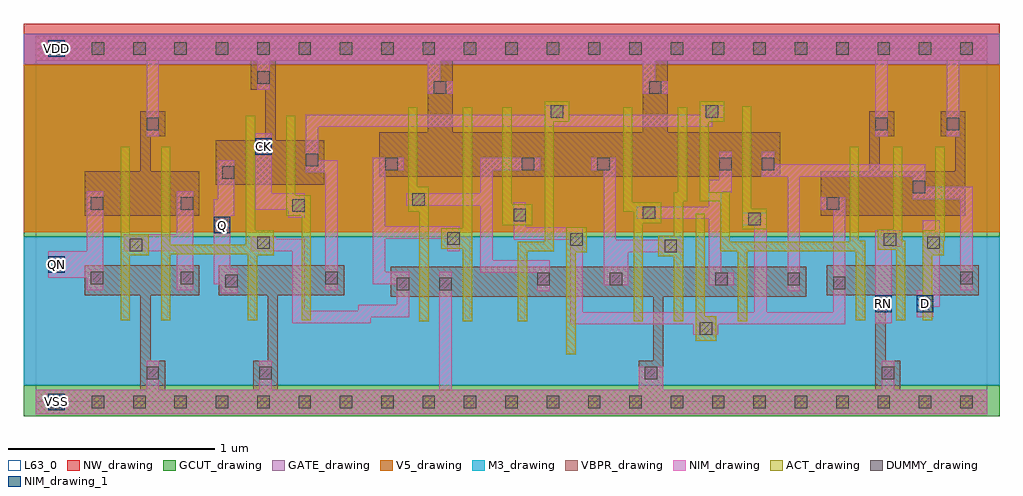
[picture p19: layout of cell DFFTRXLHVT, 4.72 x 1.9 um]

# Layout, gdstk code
import gdstk
lib = gdstk.Library(unit=1e-6, precision=5e-10)
def R(c, l, rs):  # rectangles x0, y0, x1, y1
    for r in rs: c.add(gdstk.rectangle(r[:2], r[2:], *l))
def A(c, l, x, y, w, h, nx, ny, dx, dy):  # array of equal rectangles
    R(c, l, [(x+i*dx, y+j*dy, x+i*dx+w, y+j*dy+h) for i in range(nx) for j in range(ny)])
def P(c, l, *ps):  # polygons
    for p in ps: c.add(gdstk.Polygon(p, *l))
VBPR_drawing = (1, 0)
NW_drawing = (2, 0)
ACT_drawing = (3, 0)
GATE_drawing = (4, 0)
GCUT_drawing = (5, 0)
DUMMY_drawing = (6, 0)
NIM_drawing = (7, 0)
NIM_drawing_1 = (7, 1)
M3_drawing = (18, 0)
V5_drawing = (23, 0)
L63_0 = (63, 0)

dfftrxlhvt = lib.new_cell('DFFTRXLHVT')
R(dfftrxlhvt, VBPR_drawing, [(0,-0.06,4.6,0.06), (0,1.65,4.6,1.77)])
P(dfftrxlhvt, VBPR_drawing, [(1.395,1.265),(1.16,1.265),(1.16,1.65),(1.04,1.65),(1.04,1.51),(1.11,1.51),(1.11,1.265),(0.87,1.265),(0.87,1.05),(1.395,1.05)],
  [(3.6,1.305),(3.055,1.305),(3.055,1.65),(2.935,1.65),(2.935,1.305),(2.015,1.305),(2.015,1.65),(1.895,1.65),(1.895,1.305),(1.66,1.305),(1.66,1.09),(3.6,1.09)],
  [(0.505,1.405),(0.625,1.405),(0.625,1.285),(0.555,1.285),(0.555,1.115),(0.79,1.115),(0.79,0.9),(0.235,0.9),(0.235,1.115),(0.505,1.115)],
  [(4.03,1.405),(4.15,1.405),(4.15,1.285),(4.08,1.285),(4.08,1.115),(4.445,1.115),(4.445,1.285),(4.375,1.285),(4.375,1.405),(4.495,1.405),(4.495,0.9),(3.795,0.9),(3.795,1.115),(4.03,1.115)],
  [(4.56,0.66),(3.825,0.66),(3.825,0.515),(4.06,0.515),(4.06,0.06),(4.18,0.06),(4.18,0.2),(4.11,0.2),(4.11,0.515),(4.56,0.515)],
  [(3.725,0.655),(1.715,0.655),(1.715,0.51),(2.985,0.51),(2.985,0.2),(2.915,0.2),(2.915,0.06),(3.035,0.06),(3.035,0.51),(3.725,0.51)],
  [(1.49,0.66),(0.885,0.66),(0.885,0.515),(1.12,0.515),(1.12,0.2),(1.05,0.2),(1.05,0.06),(1.17,0.06),(1.17,0.515),(1.49,0.515)],
  [(0.79,0.66),(0.235,0.66),(0.235,0.515),(0.505,0.515),(0.505,0.06),(0.625,0.06),(0.625,0.2),(0.555,0.2),(0.555,0.515),(0.79,0.515)])
R(dfftrxlhvt, NW_drawing, [(-0.06,0.82,4.66,1.83)])
P(dfftrxlhvt, ACT_drawing, [(0.41,1.235),(0.455,1.235),(0.455,0.81),(0.545,0.81),(0.545,0.71),(0.455,0.71),(0.455,0.395),(0.41,0.395)],
  [(0.605,1.235),(0.65,1.235),(0.65,0.76),(1.015,0.76),(1.015,1.385),(1.06,1.385),(1.06,0.83),(1.15,0.83),(1.15,0.71),(1.07,0.71),(1.07,0.395),(1.025,0.395),(1.025,0.715),(0.65,0.715),(0.65,0.395),(0.605,0.395)],
  [(2.46,1.455),(2.58,1.455),(2.58,1.355),(2.505,1.355),(2.505,0.73),(2.375,0.73),(2.375,0.39),(2.33,0.39),(2.33,0.775),(2.46,0.775)],
  [(1.21,1.385),(1.255,1.385),(1.255,1),(1.33,1),(1.33,0.395),(1.285,0.395),(1.285,0.9),(1.21,0.9)],
  [(1.8,1.425),(1.845,1.425),(1.845,1.04),(1.9,1.04),(1.9,0.39),(1.855,0.39),(1.855,0.92),(1.8,0.92)],
  [(2.065,1.425),(2.11,1.425),(2.11,0.39),(2.065,0.39),(2.065,0.74),(1.96,0.74),(1.96,0.84),(2.065,0.84)],
  [(2.255,1.425),(2.3,1.425),(2.3,0.955),(2.4,0.955),(2.4,0.855),(2.255,0.855)],
  [(3.21,1.455),(3.33,1.455),(3.33,1.355),(3.255,1.355),(3.255,1.015),(3.355,1.015),(3.355,0.775),(3.935,0.775),(3.935,1.235),(3.98,1.235),(3.98,0.78),(4.01,0.78),(4.01,0.395),(3.965,0.395),(3.965,0.73),(3.44,0.73),(3.44,0.39),(3.395,0.39),(3.395,0.73),(3.31,0.73),(3.31,0.97),(3.21,0.97)],
  [(2.84,1.425),(2.885,1.425),(2.885,0.965),(3.025,0.965),(3.025,0.865),(2.935,0.865),(2.935,0.39),(2.89,0.39),(2.89,0.92),(2.84,0.92)],
  [(3.105,1.425),(3.15,1.425),(3.15,0.97),(3.13,0.97),(3.13,0.39),(3.085,0.39),(3.085,0.705),(3.01,0.705),(3.01,0.805),(3.085,0.805),(3.085,1.015),(3.105,1.015)],
  [(3.415,1.43),(3.46,1.43),(3.46,0.935),(3.535,0.935),(3.535,0.835),(3.415,0.835)],
  [(4.145,1.235),(4.19,1.235),(4.19,0.78),(4.205,0.78),(4.205,0.395),(4.16,0.395),(4.16,0.735),(4.07,0.735),(4.07,0.835),(4.145,0.835)],
  [(4.35,1.235),(4.395,1.235),(4.395,0.78),(4.39,0.78),(4.39,0.71),(4.335,0.71),(4.335,0.395),(4.29,0.395),(4.29,0.83),(4.35,0.83)],
  [(2.565,0.845),(2.665,0.845),(2.665,0.725),(2.61,0.725),(2.61,0.23),(2.565,0.23)],
  [(3.19,0.91),(3.235,0.91),(3.235,0.415),(3.29,0.415),(3.29,0.295),(3.19,0.295)])
R(dfftrxlhvt, GATE_drawing, [(-0.06,0.08,4.66,0.8), (-0.06,1.63,4.66,1.78)])
R(dfftrxlhvt, GCUT_drawing, [(-0.06,-0.07,4.66,0.08), (-0.06,0.8,4.66,1.63)])
A(dfftrxlhvt, DUMMY_drawing, 0.07, -0.03, 0.06, 0.06, 23, 2, 0.2, 1.71)
R(dfftrxlhvt, DUMMY_drawing, [(0.535,0.11,0.595,0.17), (1.08,0.11,1.14,0.17), (2.945,0.11,3.005,0.17), (4.09,0.11,4.15,0.17), (3.21,0.325,3.27,0.385), (1.745,0.54,1.805,0.6), (1.95,0.54,2.01,0.6), (3.855,0.545,3.915,0.605), (0.915,0.555,0.975,0.615), (2.425,0.565,2.485,0.625), (2.775,0.565,2.835,0.625), (3.285,0.565,3.345,0.625), (3.635,0.565,3.695,0.625), (0.265,0.57,0.325,0.63), (0.7,0.57,0.76,0.63), (1.4,0.57,1.46,0.63), (4.47,0.57,4.53,0.63), (3.04,0.725,3.1,0.785), (0.455,0.73,0.515,0.79), (1.07,0.74,1.13,0.8), (4.31,0.74,4.37,0.8), (2.585,0.755,2.645,0.815), (4.1,0.755,4.16,0.815), (1.99,0.76,2.05,0.82), (3.445,0.855,3.505,0.915), (2.31,0.875,2.37,0.935), (2.935,0.885,2.995,0.945), (1.24,0.92,1.3,0.98), (0.265,0.93,0.325,0.99), (0.7,0.93,0.76,0.99), (3.825,0.93,3.885,0.99), (1.82,0.95,1.88,1.01), (4.24,1.01,4.3,1.07), (0.9,1.08,0.96,1.14), (1.69,1.12,1.75,1.18), (2.35,1.12,2.41,1.18), (2.715,1.12,2.775,1.18), (3.305,1.12,3.365,1.18), (3.51,1.12,3.57,1.18), (1.305,1.14,1.365,1.2), (0.535,1.315,0.595,1.375), (4.06,1.315,4.12,1.375), (4.405,1.315,4.465,1.375), (2.49,1.375,2.55,1.435), (3.24,1.375,3.3,1.435), (1.925,1.49,1.985,1.55), (2.965,1.49,3.025,1.55), (1.07,1.54,1.13,1.6)])
R(dfftrxlhvt, NIM_drawing, [(0.535,0.06,0.595,0.2), (1.08,0.06,1.14,0.2), (1.95,0.06,2.01,0.63), (2.915,0.06,3.035,0.17), (4.09,0.06,4.15,0.2), (0.535,1.285,0.595,1.65), (4.06,1.285,4.12,1.65), (4.405,1.285,4.465,1.65), (1.07,1.51,1.13,1.65)])
P(dfftrxlhvt, NIM_drawing, [(2.015,1.55),(1.955,1.55),(1.955,1.65),(1.895,1.65),(1.895,1.49),(2.015,1.49)],
  [(3.055,1.55),(2.995,1.55),(2.995,1.65),(2.935,1.65),(2.935,1.49),(3.055,1.49)],
  [(2.46,1.435),(2.58,1.435),(2.58,1.39),(3.21,1.39),(3.21,1.435),(3.33,1.435),(3.33,1.375),(3.27,1.375),(3.27,1.33),(1.365,1.33),(1.365,1.17),(1.46,1.17),(1.46,0.54),(1.4,0.54),(1.4,1.11),(1.305,1.11),(1.305,1.39),(2.46,1.39)],
  [(0.88,1.17),(0.96,1.17),(0.96,0.9),(0.94,0.9),(0.94,0.645),(0.975,0.645),(0.975,0.525),(0.895,0.525),(0.895,0.57),(0.86,0.57),(0.86,0.98),(0.88,0.98)],
  [(3.305,1.21),(3.365,1.21),(3.365,1.015),(3.315,1.015),(3.315,0.625),(3.375,0.625),(3.375,0.565),(3.255,0.565),(3.255,0.885),(2.905,0.885),(2.905,0.945),(3.255,0.945),(3.255,1.075),(3.305,1.075)],
  [(0.245,1.02),(0.325,1.02),(0.325,0.54),(0.245,0.54),(0.245,0.6),(0.06,0.6),(0.06,0.73),(0.245,0.73)],
  [(0.68,1.02),(0.76,1.02),(0.76,0.54),(0.68,0.54),(0.68,0.73),(0.425,0.73),(0.425,0.81),(0.68,0.81)],
  [(1.06,1.3),(1.14,1.3),(1.14,1.01),(1.3,1.01),(1.3,0.89),(1.22,0.89),(1.22,0.93),(1.06,0.93)],
  [(1.63,1.18),(1.78,1.18),(1.78,1.12),(1.69,1.12),(1.69,0.85),(2.05,0.85),(2.05,0.73),(1.99,0.73),(1.99,0.79),(1.69,0.79),(1.69,0.63),(1.805,0.63),(1.805,0.41),(1.62,0.41),(1.62,0.38),(1.24,0.38),(1.24,0.73),(1.04,0.73),(1.04,0.8),(1.16,0.8),(1.16,0.79),(1.3,0.79),(1.3,0.44),(1.56,0.44),(1.56,0.47),(1.745,0.47),(1.745,0.57),(1.63,0.57)],
  [(2.15,1.18),(2.44,1.18),(2.44,1.12),(2.21,1.12),(2.21,0.685),(2.485,0.685),(2.485,0.535),(2.425,0.535),(2.425,0.625),(2.15,0.625),(2.15,0.95),(1.79,0.95),(1.79,1.01),(2.15,1.01)],
  [(2.685,1.18),(2.805,1.18),(2.805,0.785),(3.13,0.785),(3.13,0.725),(2.865,0.725),(2.865,0.565),(2.745,0.565),(2.745,1.12),(2.685,1.12)],
  [(2.31,0.965),(2.37,0.965),(2.37,0.845),(2.645,0.845),(2.645,0.435),(3.475,0.435),(3.475,0.855),(3.415,0.855),(3.415,0.915),(3.535,0.915),(3.535,0.435),(3.855,0.435),(3.855,0.93),(3.795,0.93),(3.795,0.99),(3.915,0.99),(3.915,0.375),(3.3,0.375),(3.3,0.325),(3.18,0.325),(3.18,0.375),(2.585,0.375),(2.585,0.785),(2.31,0.785)],
  [(3.51,1.21),(3.57,1.21),(3.57,1.15),(4.3,1.15),(4.3,1.04),(4.53,1.04),(4.53,0.54),(4.47,0.54),(4.47,0.98),(4.24,0.98),(4.24,1.09),(3.695,1.09),(3.695,0.535),(3.635,0.535),(3.635,1.09),(3.51,1.09)],
  [(4.29,0.88),(4.37,0.88),(4.37,0.46),(4.34,0.46),(4.34,0.41),(4.26,0.41),(4.26,0.54),(4.29,0.54)],
  [(4.06,0.83),(4.19,0.83),(4.19,0.75),(4.14,0.75),(4.14,0.38),(4.06,0.38)])
R(dfftrxlhvt, NIM_drawing_1, [(0.06,-0.04,0.14,0.04), (4.06,0.435,4.14,0.515), (4.26,0.435,4.34,0.515), (0.06,0.625,0.14,0.705), (0.86,0.815,0.94,0.895), (1.06,1.195,1.14,1.275), (0.06,1.67,0.14,1.75)])
R(dfftrxlhvt, M3_drawing, [(-0.06,0.08,4.66,0.8)])
R(dfftrxlhvt, V5_drawing, [(-0.06,0.82,4.66,1.63)])
R(dfftrxlhvt, L63_0, [(0,0,4.6,1.71)])
dfftrxlhvt.add(gdstk.FlexPath([(0,0),(4.6,0)], 0.12, ends="flush", simple_path=True, layer=7, datatype=0))  # NIM_drawing
dfftrxlhvt.add(gdstk.FlexPath([(0,1.71),(4.6,1.71)], 0.12, ends="flush", simple_path=True, layer=7, datatype=0))  # NIM_drawing
dfftrxlhvt.add(gdstk.Label('Q', (0.9,0.855), layer=7, texttype=1))
dfftrxlhvt.add(gdstk.Label('QN', (0.1,0.665), layer=7, texttype=1))
dfftrxlhvt.add(gdstk.Label('D', (4.3,0.475), layer=7, texttype=1))
dfftrxlhvt.add(gdstk.Label('RN', (4.1,0.475), layer=7, texttype=1))
dfftrxlhvt.add(gdstk.Label('CK', (1.1,1.235), layer=7, texttype=1))
dfftrxlhvt.add(gdstk.Label('VDD', (0.1,1.71), layer=7, texttype=1))
dfftrxlhvt.add(gdstk.Label('VSS', (0.1,0), layer=7, texttype=1))
dfftrxlhvt.add(gdstk.Label('VSS', (0.1,0), layer=7, texttype=1))
dfftrxlhvt.add(gdstk.Label('VDD', (0.1,1.71), layer=7, texttype=1))
dfftrxlhvt.add(gdstk.Label('CK', (1.1,1.235), layer=7, texttype=1))
dfftrxlhvt.add(gdstk.Label('RN', (4.1,0.475), layer=7, texttype=1))
dfftrxlhvt.add(gdstk.Label('D', (4.3,0.475), layer=7, texttype=1))
dfftrxlhvt.add(gdstk.Label('QN', (0.1,0.665), layer=7, texttype=1))
dfftrxlhvt.add(gdstk.Label('Q', (0.9,0.855), layer=7, texttype=1))
dfftrxlhvt.add(gdstk.Label('DFFTRXL', (0,0), layer=63, texttype=0))

lib.write_gds('DFFTRXLHVT.gds')
